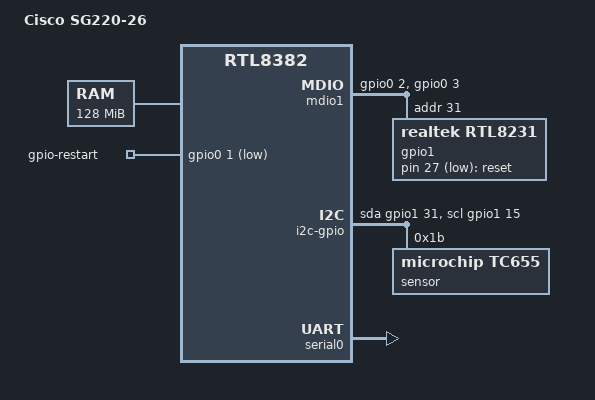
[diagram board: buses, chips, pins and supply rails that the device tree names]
// SPDX-License-Identifier: GPL-2.0-or-later OR BSD-2-Clause

/dts-v1/;

#include "rtl83xx.dtsi"
#include "rtl838x.dtsi"

#include <dt-bindings/gpio/gpio.h>
#include <dt-bindings/input/input.h>
#include <dt-bindings/mux/mux.h>

/ {
	model = "Cisco SG220-26";
	compatible = "cisco,sg220-26", "realtek,rtl8382-soc";

	chosen {
		stdout-path = "serial0";
		bootargs = "earlycon console=ttyS0,9600";
	};

	aliases {
		mdio-gpio1 = &mdio1;
		led-boot = &led_status;
		led-failsafe = &led_status;
		led-running = &led_status;
		led-upgrade = &led_status;
	};

	memory@0 {
		device_type = "memory";
		reg = <0x0 0x8000000>;
	};

	keys {
		compatible = "gpio-keys-polled";
		poll-interval = <10>;
		debounce-interval = <50>;

		reset {
			gpios = <&gpio1 27 GPIO_ACTIVE_LOW>;
			linux,code = <KEY_RESTART>;
		};
	};

	gpio-restart {
		compatible = "gpio-restart";
		gpios = <&gpio0 1 GPIO_ACTIVE_LOW>;
		priority = <192>;
		open-source;
	};

	mdio1: mdio {
//		pinctrl-names = "default";
//		pinctrl-0 = <&gpio_mdx_pins>;

		compatible = "virtual,mdio-gpio";
		#address-cells = <1>;
		#size-cells = <0>;
		gpios = <&gpio0 2 GPIO_ACTIVE_HIGH>,
			<&gpio0 3 GPIO_ACTIVE_HIGH>;

		gpio1: expander@31 {
			compatible = "realtek,rtl8231";
			reg = <31>;

			gpio-controller;
			#gpio-cells = <2>;
			gpio-ranges = <&gpio1 0 0 37>;
		};
	};

	/* Temperature sensor bus */
//	i2c-gpio {
//		compatible = "i2c-gpio";
//		#address-cells = <1>;
//		#size-cells = <0>;
//		scl-gpios = <&gpio1 15 (GPIO_ACTIVE_HIGH | GPIO_OPEN_DRAIN)>;
//		sda-gpios = <&gpio1 29 (GPIO_ACTIVE_HIGH | GPIO_OPEN_DRAIN)>;
//
//		sensor@49 {
//			compatible = "national,lm75a";
//			reg = <0x49>;
//		};
//
//		sensor@4b {
//			compatible = "national,lm75a";
//			reg = <0x4b>;
//		};
//	};


	/* Fan controller 1 bus */
	/* Invalid, bus does not exist? */
//	i2c-gpio {
//		compatible = "i2c-gpio";
//		#address-cells = <1>;
//		#size-cells = <0>;
//		scl-gpios = <&gpio1 15 (GPIO_ACTIVE_HIGH | GPIO_OPEN_DRAIN)>;
//		sda-gpios = <&gpio1 33 (GPIO_ACTIVE_HIGH | GPIO_OPEN_DRAIN)>;
//
//		sensor@1b {
//			compatible = "microchip,tc655";
//			reg = <0x1b>;
//		};
//	};

	/* Fan controller 2 bus */
	i2c-gpio {
		compatible = "i2c-gpio";
		#address-cells = <1>;
		#size-cells = <0>;
		scl-gpios = <&gpio1 15 (GPIO_ACTIVE_HIGH | GPIO_OPEN_DRAIN)>;
		sda-gpios = <&gpio1 31 (GPIO_ACTIVE_HIGH | GPIO_OPEN_DRAIN)>;

		sensor@1b {
			compatible = "microchip,tc655";
			reg = <0x1b>;
		};
	};

	/* SFP25 bus */
//	i2c0: i2c-sfp25 {
//		compatible = "i2c-gpio";
//		#address-cells = <1>;
//		#size-cells = <0>;
//		scl-gpios = <&gpio1 15 (GPIO_ACTIVE_HIGH | GPIO_OPEN_DRAIN)>;
//		sda-gpios = <&gpio1 13 (GPIO_ACTIVE_HIGH | GPIO_OPEN_DRAIN)>;
//	};

	/* SFP26 bus */
//	i2c1: i2c-sfp26 {
//		compatible = "i2c-gpio";
//		#address-cells = <1>;
//		#size-cells = <0>;
//		scl-gpios = <&gpio1 15 (GPIO_ACTIVE_HIGH | GPIO_OPEN_DRAIN)>;
//		sda-gpios = <&gpio1 14 (GPIO_ACTIVE_HIGH | GPIO_OPEN_DRAIN)>;
//	};

//	sfp0: sfp-p25 {
//		compatible = "sff,sfp";
//		i2c-bus = <&i2c0>;
//		//tx-fault-gpios =
//		tx-disable-gpios = <&gpio1 17 GPIO_ACTIVE_HIGH>;
//		mod-def0-gpios = <&gpio1 24 GPIO_ACTIVE_HIGH>;
//		los-gpios = <&gpio1 11 GPIO_ACTIVE_HIGH>;
//	};

//	sfp1: sfp-p26 {
//		compatible = "sff,sfp";
//		i2c-bus = <&i2c1>;
//		//tx-fault-gpios =
//		tx-disable-gpios = <&gpio1 18 GPIO_ACTIVE_HIGH>;
//		mod-def0-gpios = <&gpio1 28 GPIO_ACTIVE_HIGH>;
//		los-gpios = <&gpio1 12 GPIO_ACTIVE_HIGH>;
//	};

	switchcore-bus@1b000000 {
		compatible = "realtek,maple-switchcore", "syscon";
		reg = <0x1b000000 0x10000>;

		port-leds {
			compatible = "realtek,maple-port-led";
			#address-cells = <3>;
			#size-cells = <0>;

			realtek,output-mode = "serial";

			led@0,0,0 {
				reg = <0 0 0>;
				label = "lan1:act:green";
			};
			led@0,1,0 {
				reg = <0 1 0>;
				label = "lan1:poe:amber";
			};
			led@1,0,0 {
				reg = <1 0 0>;
				label = "lan2:act:green";
			};
			led@1,1,0 {
				reg = <1 1 0>;
				label = "lan2:poe:amber";
			};
			led@2,0,0 {
				reg = <2 0 0>;
				label = "lan3:act:green";
			};
			led@2,1,0 {
				reg = <2 1 0>;
				label = "lan3:poe:amber";
			};
			led@3,0,0 {
				reg = <3 0 0>;
				label = "lan4:act:green";
			};
			led@3,1,0 {
				reg = <3 1 0>;
				label = "lan4:poe:amber";
			};
			led@4,0,0 {
				reg = <4 0 0>;
				label = "lan5:act:green";
			};
			led@4,1,0 {
				reg = <4 1 0>;
				label = "lan5:poe:amber";
			};
			led@5,0,0 {
				reg = <5 0 0>;
				label = "lan6:act:green";
			};
			led@5,1,0 {
				reg = <5 1 0>;
				label = "lan6:poe:amber";
			};
			led@6,0,0 {
				reg = <6 0 0>;
				label = "lan7:act:green";
			};
			led@6,1,0 {
				reg = <6 1 0>;
				label = "lan7:poe:amber";
			};
			led@7,0,0 {
				reg = <7 0 0>;
				label = "lan8:act:green";
			};
			led@7,1,0 {
				reg = <7 1 0>;
				label = "lan8:poe:amber";
			};
			led@8,0,0 {
				reg = <8 0 0>;
				label = "lan9:act:green";
			};
			led@8,1,0 {
				reg = <8 1 0>;
				label = "lan9:poe:amber";
			};
			led@9,0,0 {
				reg = <9 0 0>;
				label = "lan10:act:green";
			};
			led@9,1,0 {
				reg = <9 1 0>;
				label = "lan10:poe:amber";
			};
			led@10,0,0 {
				reg = <10 0 0>;
				label = "lan11:act:green";
			};
			led@10,1,0 {
				reg = <10 1 0>;
				label = "lan11:poe:amber";
			};
			led@11,0,0 {
				reg = <11 0 0>;
				label = "lan12:act:green";
			};
			led@11,1,0 {
				reg = <11 1 0>;
				label = "lan12:poe:amber";
			};
			led@12,0,0 {
				reg = <12 0 0>;
				label = "lan13:act:green";
			};
			led@12,1,0 {
				reg = <12 1 0>;
				label = "lan13:poe:amber";
			};
			led@13,0,0 {
				reg = <13 0 0>;
				label = "lan14:act:green";
			};
			led@13,1,0 {
				reg = <13 1 0>;
				label = "lan14:poe:amber";
			};
			led@14,0,0 {
				reg = <14 0 0>;
				label = "lan15:act:green";
			};
			led@14,1,0 {
				reg = <14 1 0>;
				label = "lan15:poe:amber";
			};
			led@15,0,0 {
				reg = <15 0 0>;
				label = "lan16:act:green";
			};
			led@15,1,0 {
				reg = <15 1 0>;
				label = "lan16:poe:amber";
			};
			led@16,0,0 {
				reg = <16 0 0>;
				label = "lan17:act:green";
			};
			led@16,1,0 {
				reg = <16 1 0>;
				label = "lan17:poe:amber";
			};
			led@17,0,0 {
				reg = <17 0 0>;
				label = "lan18:act:green";
			};
			led@17,1,0 {
				reg = <17 1 0>;
				label = "lan18:poe:amber";
			};
			led@18,0,0 {
				reg = <18 0 0>;
				label = "lan19:act:green";
			};
			led@18,1,0 {
				reg = <18 1 0>;
				label = "lan19:poe:amber";
			};
			led@19,0,0 {
				reg = <19 0 0>;
				label = "lan20:act:green";
			};
			led@19,1,0 {
				reg = <19 1 0>;
				label = "lan20:poe:amber";
			};
			led@20,0,0 {
				reg = <20 0 0>;
				label = "lan21:act:green";
			};
			led@20,1,0 {
				reg = <20 1 0>;
				label = "lan21:poe:amber";
			};
			led@21,0,0 {
				reg = <21 0 0>;
				label = "lan22:act:green";
			};
			led@21,1,0 {
				reg = <21 1 0>;
				label = "lan22:poe:amber";
			};
			led@22,0,0 {
				reg = <22 0 0>;
				label = "lan23:act:green";
			};
			led@22,1,0 {
				reg = <22 1 0>;
				label = "lan23:poe:amber";
			};
			led@23,0,0 {
				reg = <23 0 0>;
				label = "lan24:act:green";
			};
			led@23,1,0 {
				reg = <23 1 0>;
				label = "lan24:poe:amber";
			};
			led@24,0,0 {
				reg = <24 0 0>;
				label = "lan25:act:green";
			};
			led@24,1,0 {
				reg = <24 1 0>;
				label = "lan25:gbit:green";
			};
			led@25,0,0 {
				reg = <25 0 0>;
				label = "lan26:act:green";
			};
			led@25,1,0 {
				reg = <25 1 0>;
				label = "lan26:gbit:green";
			};
			led_status: led@26,1,0 {
				reg = <26 1 0>;
				label = "status:green";
			};
			led@27,1,0 {
				reg = <27 1 0>;
				label = "status:amber";
			};
		};
	};

//	switchcore@1b000000 {
//		compatible = "syscon", "simple-mfd";
//		#address-cells = <1>;
//		#size-cells = <1>;
//		ranges = <0x0 0x1b000000 0x20000>;
//
//		pinctrl_sysled: pinmux@a000 {
//			compatible = "pinctrl-single";
//			reg = <0xa000 0x4>;
//
//			pinctrl-single,bit-per-mux;
//			pinctrl-single,register-width = <32>;
//			pinctrl-single,function-mask = <0x1>;
//			#pinctrl-cells = <2>;
//
//			sys_led_pins: pinmux_sys_led_pins {
//				pinctrl-single,bits = <0x0 0x0000 0x8000>;
//			};
//		};
//
//		pinctrl_gpio: pinmux@a0e0 {
//			compatible = "pinctrl-single";
//			reg = <0xa0e0 0x4>;
//
//			pinctrl-single,bit-per-mux;
//			pinctrl-single,register-width = <32>;
//			pinctrl-single,function-mask = <0x1>;
//			#pinctrl-cells = <2>;
//
//			gpio_mdx_pins: pinmux_gpio_mdx_pins {
//				pinctrl-single,bits = <0x0 0x0 0x1>;
//			};
//		};
//	};
};

&serial0 {
	status = "okay";
};
